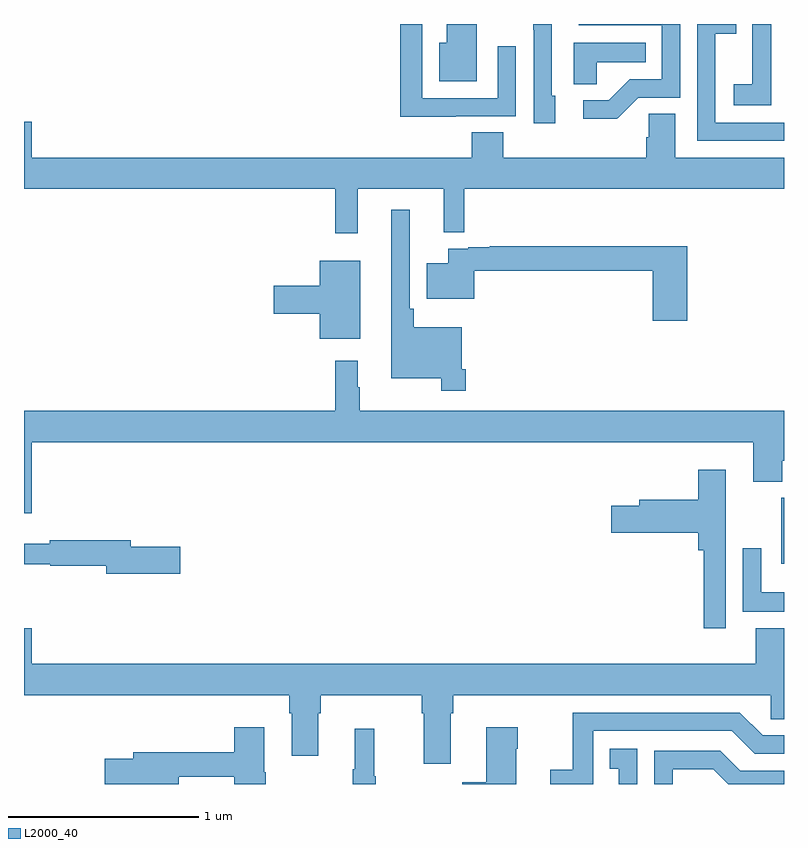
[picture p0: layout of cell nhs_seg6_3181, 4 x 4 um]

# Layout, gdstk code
import gdstk
lib = gdstk.Library(unit=1e-6, precision=1e-09)
def R(c, l, rs):  # rectangles x0, y0, x1, y1
    for r in rs: c.add(gdstk.rectangle(r[:2], r[2:], *l))
def P(c, l, *ps):  # polygons
    for p in ps: c.add(gdstk.Polygon(p, *l))
L2000_40 = (2000, 40)

nhs_seg6_3181 = lib.new_cell('nhs_seg6_3181')
R(nhs_seg6_3181, L2000_40, [(300.986,982.659,301,983.007)])
P(nhs_seg6_3181, L2000_40, [(299.383,985.5),(299.225,985.5),(299.225,985.402),(299.186,985.402),(299.186,985.199),(299.383,985.199)],
  [(301,984.981),(300.639,984.981),(300.639,985.45),(300.749,985.45),(300.749,985.5),(300.543,985.5),(300.543,984.885),(301,984.885)],
  [(299.797,985.122),(299.778,985.122),(299.778,985.5),(299.68,985.5),(299.68,985.471),(299.682,985.471),(299.682,984.978),(299.797,984.978)],
  [(300.933,985.279),(300.932,985.279),(300.932,985.5),(300.834,985.5),(300.834,985.412),(300.833,985.412),(300.833,985.183),(300.735,985.183),(300.735,985.073),(300.933,985.073)],
  [(299.273,985.014),(299.589,985.014),(299.589,985.384),(299.493,985.384),(299.493,985.11),(299.097,985.11),(299.097,985.5),(298.981,985.5),(298.981,985.013),(299.273,985.013)],
  [(300.126,985.005),(300.234,985.113),(300.453,985.113),(300.453,985.5),(299.919,985.5),(299.919,985.494),(300.357,985.494),(300.357,985.209),(300.188,985.209),(300.077,985.098),(299.943,985.098),(299.943,985.001),(300.121,985.001)],
  [(300.015,985.298),(300.272,985.298),(300.272,985.402),(299.894,985.402),(299.894,985.183),(300.015,985.183)],
  [(298.757,984.632),(299.21,984.632),(299.21,984.403),(299.318,984.403),(299.318,984.632),(301,984.632),(301,984.796),(300.427,984.796),(300.427,985.028),(300.288,985.028),(300.288,984.905),(300.275,984.905),(300.275,984.796),(299.522,984.796),(299.522,984.929),(299.357,984.929),(299.357,984.796),(297.04,984.796),(297.04,984.985),(297,984.985),(297,984.632),(298.639,984.632),(298.639,984.399),(298.757,984.399)],
  [(299.324,983.683),(299.304,983.683),(299.304,983.905),(299.051,983.905),(299.051,984.001),(299.031,984.001),(299.031,984.523),(298.934,984.523),(298.934,983.636),(299.196,983.636),(299.196,983.571),(299.324,983.571)],
  [(300.491,984.331),(299.452,984.331),(299.452,984.324),(299.338,984.324),(299.338,984.318),(299.234,984.318),(299.234,984.241),(299.12,984.241),(299.12,984.053),(299.369,984.053),(299.369,984.202),(300.308,984.202),(300.308,983.937),(300.491,983.937)],
  [(298.771,984.253),(298.556,984.253),(298.556,984.122),(298.314,984.122),(298.314,983.975),(298.556,983.975),(298.556,983.843),(298.771,983.843)],
  [(297.04,983.3),(300.839,983.3),(300.839,983.092),(300.991,983.092),(300.991,983.201),(301,983.201),(301,983.464),(298.768,983.464),(298.768,983.588),(298.756,983.588),(298.756,983.728),(298.639,983.728),(298.639,983.464),(297,983.464),(297,982.926),(297.04,982.926)],
  [(300.693,982.839),(300.694,982.839),(300.694,983.155),(300.548,983.155),(300.548,982.995),(300.239,982.995),(300.239,982.965),(300.09,982.965),(300.09,982.823),(300.548,982.823),(300.548,982.73),(300.577,982.73),(300.577,982.32),(300.693,982.32)],
  [(297.823,982.748),(297.562,982.748),(297.562,982.784),(297.136,982.784),(297.136,982.765),(297,982.765),(297,982.656),(297.138,982.656),(297.138,982.648),(297.434,982.648),(297.434,982.606),(297.823,982.606)],
  [(301,982.51),(300.879,982.51),(300.879,982.741),(300.783,982.741),(300.783,982.406),(301,982.406)],
  [(299.245,981.872),(299.258,981.872),(299.258,981.968),(300.93,981.968),(300.93,981.841),(301,981.841),(301,982.321),(300.851,982.321),(300.851,982.132),(297.04,982.132),(297.04,982.321),(297,982.321),(297,981.968),(298.397,981.968),(298.397,981.872),(298.409,981.872),(298.409,981.648),(298.549,981.648),(298.549,981.872),(298.562,981.872),(298.562,981.968),(299.093,981.968),(299.093,981.872),(299.105,981.872),(299.105,981.606),(299.245,981.606)],
  [(299.997,981.78),(300.726,981.78),(300.846,981.66),(301,981.66),(301,981.756),(300.888,981.756),(300.768,981.876),(299.889,981.876),(299.889,981.574),(299.771,981.574),(299.771,981.5),(299.997,981.5)],
  [(297.814,981.538),(298.106,981.538),(298.106,981.5),(298.272,981.5),(298.272,981.561),(298.264,981.561),(298.264,981.799),(298.106,981.799),(298.106,981.667),(297.575,981.667),(297.575,981.633),(297.426,981.633),(297.426,981.5),(297.814,981.5)],
  [(299.59,981.686),(299.598,981.686),(299.598,981.799),(299.432,981.799),(299.432,981.509),(299.306,981.509),(299.306,981.5),(299.59,981.5)],
  [(298.852,981.54),(298.844,981.54),(298.844,981.79),(298.742,981.79),(298.742,981.577),(298.731,981.577),(298.731,981.5),(298.852,981.5)],
  [(300.228,981.685),(300.082,981.685),(300.082,981.579),(300.131,981.579),(300.131,981.5),(300.228,981.5)],
  [(300.414,981.578),(300.628,981.578),(300.706,981.5),(301,981.5),(301,981.57),(300.769,981.57),(300.664,981.675),(300.318,981.675),(300.318,981.5),(300.414,981.5)])

lib.write_gds('nhs_seg6_3181.gds')
